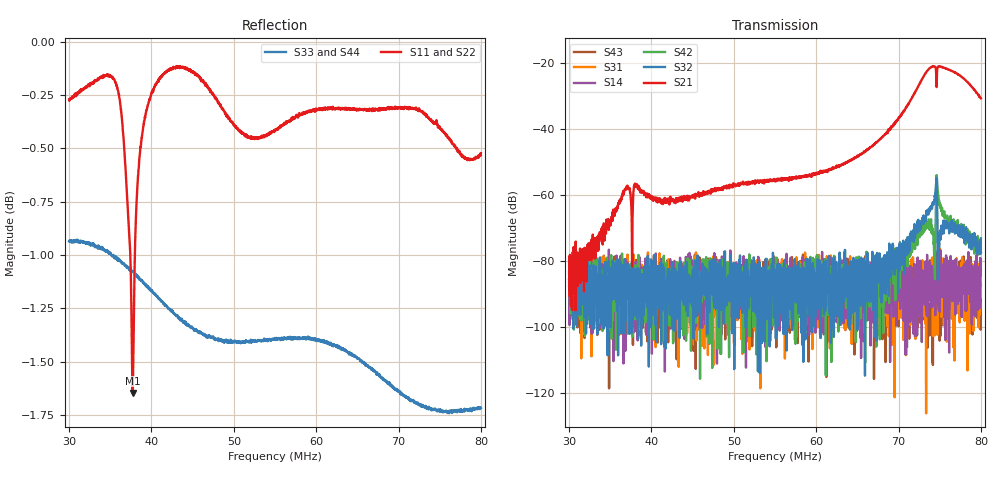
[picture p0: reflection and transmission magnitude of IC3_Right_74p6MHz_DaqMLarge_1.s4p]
#  HZ  S  DB  R  50.00
! Rohde & Schwarz Vector Network Analyzer
! Rohde-Schwarz,ZNB8-4Port,1311601044102961,2.82
! Created: UTC 2/12/2019, 2:38:11 PM
! freq[Hz]  db:S11  ang:S11  db:S12  ang:S12  db:S13  ang:S13  db:S14  ang:S14
!  db:S21  ang:S21  db:S22  ang:S22  db:S23  ang:S23  db:S24  ang:S24
!  db:S31  ang:S31  db:S32  ang:S32  db:S33  ang:S33  db:S34  ang:S34
!  db:S41  ang:S41  db:S42  ang:S42  db:S43  ang:S43  db:S44  ang:S44
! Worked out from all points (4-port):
!   2001 points, 30 MHz to 80 MHz, reference 50 ohm
!   strongest paths, dB at 30 MHz, 42.5 MHz, 55 MHz, 67.5 MHz, 80 MHz:
!     S21: -78.7, -61.4, -55.4, -43.6, -30.7
!     S32: -85.4, -85.1, -87.3, -79.6, -73.1
!     S42: -84.0, -85.7, -92.7, -86.5, -77.3
!     S14: -87.5, -86.8, -95.2, -85.0, -82.9
!     S31: -83.4, -92.4, -87.7, -95.8, -87.5
!     S43: -86.3, -98.0, -90.0, -85.5, -95.8
!   lowest |S11| = -1.6 dB at 37.73 MHz (marker M1), VSWR 10.58, Z = 46.7 - j142 ohm
!   |S11| at or under -10 dB: nowhere
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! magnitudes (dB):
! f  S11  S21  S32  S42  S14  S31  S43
! 30 MHz  -0.3  -78.7  -85.4  -84.0  -87.5  -83.4  -86.3
! 37.73 MHz  -1.6  -63.9  -99.9  -90.2  -90.5  -90.3  -93.7
! 61.23 MHz  -0.3  -52.8  -86.3  -81.7  -83.1  -83.9  -115.1
! 69 MHz  -0.3  -39.8  -82.7  -82.5  -86.2  -91.3  -88.9
! 74.42 MHz  -0.4  -21.2  -60.6  -85.3  -83.0  -102.5  -88.7
! 75 MHz  -0.4  -21.1  -71.5  -62.7  -95.3  -90.0  -104.1
! 80 MHz  -0.5  -30.7  -73.1  -77.3  -82.9  -87.5  -95.8
